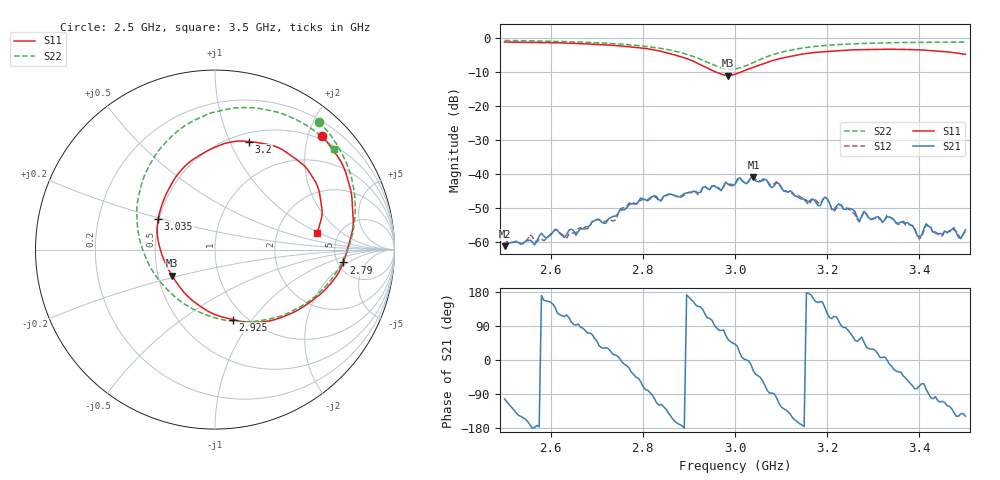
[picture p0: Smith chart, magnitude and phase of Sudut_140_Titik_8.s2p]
# Hz S RI R 50
! CMT, C1220, 16058040, 17.2.0/1
! Date: 15/08/2018 09:55:48
! Data: Format (Calibration Info)
! Freq  S11: Re/Im (F2)  S21: Re/Im (F2)  S12: Re/Im (F2)  S22: Re/Im (F2)
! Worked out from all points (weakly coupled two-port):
!   201 points, 2.5 GHz to 3.5 GHz, reference 50 ohm
!   highest |S21| = -40.92 dB at 3.04 GHz (marker M1); lowest = -61.2 dB at 2.5 GHz (marker M2)
!   lowest |S11| = -11.1 dB at 2.985 GHz (marker M3), VSWR 1.78, Z = 29.6 - j9.39 ohm
!   |S11| at or under -10 dB: 2.958 GHz to 3.013 GHz (55.53 MHz wide, 1.86 % of centre)
!   |S22| runs from -9.2 to -0.7 dB; largest |S21 - S12| = 0.00071
!   S11 on the Smith chart (normalised r, x): 2.5 GHz: 0.43, +2.25; 2.79 GHz: 5.61, -1.65; 2.925 GHz: 0.87, -0.81; 3.035 GHz: 0.49, +0.19; 3.2 GHz: 0.59, +1.18; 3.5 GHz: 3.41, +0.96
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2.5e9  0.5968 0.6328  -0.000193 -0.000848  -0.0003 -0.000913  0.5776 0.7137
2.67e9  0.7591 0.3159  0.00016 0.00154  0.000237 0.00149  0.7488 0.4391
2.79e9  0.7152 -0.0713  0.0026 -0.00289  0.00235 -0.00289  0.7678 0.0916
2.835e9  0.602 -0.2347  -0.00204 -0.00362  -0.00186 -0.00349  0.7038 -0.0794
2.925e9  0.0994 -0.3902  -0.00419 0.00347  -0.00416 0.0032  0.2911 -0.3891
2.985e9  -0.2384 -0.146  0.00414 0.0057  0.00397 0.00592  -0.1782 -0.2987
3e9  -0.2882 -0.0483  0.00527 0.0047  0.00544 0.0045  -0.2774 -0.2105
3.035e9  -0.3164 0.1702  0.00866 -0.00192  0.00874 -0.00177  -0.4195 0.0534
3.04e9  -0.3104 0.2  0.00786 -0.00436  0.00823 -0.00419  -0.4277 0.0949
3.105e9  -0.1351 0.4931  -0.0035 -0.00446  -0.00348 -0.00432  -0.325 0.5366
3.17e9  0.0947 0.6006  -0.00404 0.00131  -0.00423 0.00105  -0.0709 0.7412
3.2e9  0.1893 0.6017  -0.00237 0.00357  -0.00223 0.00375  0.0409 0.7761
3.27e9  0.3775 0.5558  0.00117 0.00164  0.0011 0.00164  0.2611 0.7841
3.28e9  0.3987 0.5413  0.00192 0.00209  0.00184 0.00201  0.2876 0.7789
3.335e9  0.5058 0.4582  0.00227 -0.000428  0.00228 -0.000577  0.4147 0.7418
3.385e9  0.5653 0.3666  0.000661 -0.00161  0.000698 -0.00161  0.5082 0.6942
3.4e9  0.5759 0.3379  0.000431 -0.00112  0.000335 -0.00106  0.5317 0.6773
3.415e9  0.5844 0.3018  0.000373 -0.00182  0.000381 -0.00174  0.556 0.6604
3.45e9  0.5964 0.2141  -0.000418 -0.00123  -0.000374 -0.00117  0.6051 0.6199
3.475e9  0.5876 0.1557  -0.00122 -0.00108  -0.00114 -0.00104  0.6343 0.5903
3.49e9  0.5774 0.118  -0.000892 -0.00069  -0.000953 -0.000591  0.6523 0.5714
3.5e9  0.5673 0.0939  -0.00129 -0.000785  -0.00127 -0.000642  0.6631 0.5594
